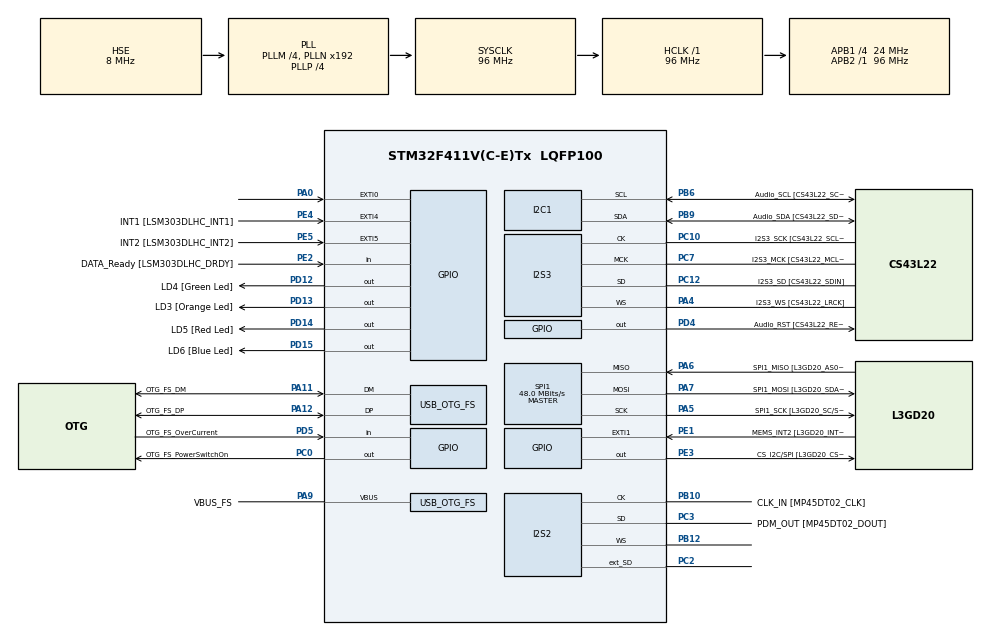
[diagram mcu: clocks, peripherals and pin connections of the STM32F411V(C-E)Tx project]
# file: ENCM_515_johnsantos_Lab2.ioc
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I2S2.AudioFreq=I2S_AUDIOFREQ_96K
I2S2.ErrorAudioFreq=0.15 %
I2S2.FullDuplexMode=I2S_FULLDUPLEXMODE_ENABLE
I2S2.Instance=SPI$Index
I2S2.RealAudioFreq=96.153 KHz
I2S2.VirtualMode=I2S_MODE_MASTER
I2S3.AudioFreq=I2S_AUDIOFREQ_96K
I2S3.ErrorAudioFreq=-6.99 %
I2S3.FullDuplexMode=I2S_FULLDUPLEXMODE_DISABLE
I2S3.Instance=SPI$Index
I2S3.RealAudioFreq=89.285 KHz
I2S3.VirtualMode=I2S_MODE_MASTER
Mcu.Family=STM32F4
Mcu.Name=STM32F411V(C-E)Tx
Mcu.Package=LQFP100
NVIC.OTG_FS_IRQn=true\:0\:0\:false\:false\:true\:true\:true\:true
NVIC.PriorityGroup=NVIC_PRIORITYGROUP_0
PA0-WKUP.GPIO_ModeDefaultEXTI=GPIO_MODE_EVT_RISING
PA0-WKUP.Signal=GPXTI0
PA10.GPIO_Label=OTG_FS_ID
PA10.Signal=USB_OTG_FS_ID
PA11.GPIO_Label=OTG_FS_DM
PA11.Mode=Host_Only
PA11.Signal=USB_OTG_FS_DM
PA12.GPIO_Label=OTG_FS_DP
PA12.Mode=Host_Only
PA12.Signal=USB_OTG_FS_DP
PA13.GPIO_Label=SWDIO
PA13.Mode=Serial_Wire
PA13.Signal=SYS_JTMS-SWDIO
PA14.GPIO_Label=SWCLK
PA14.Mode=Serial_Wire
PA14.Signal=SYS_JTCK-SWCLK
PA4.GPIO_Label=I2S3_WS [CS43L22_LRCK]
PA4.GPIO_Mode=GPIO_MODE_AF_PP
PA4.GPIO_PuPd=GPIO_NOPULL
PA4.GPIO_Speed=GPIO_SPEED_FREQ_LOW
PA4.Mode=Half_Duplex_Master
PA4.Signal=I2S3_WS
PA5.GPIO_Label=SPI1_SCK [L3GD20_SC/SPC]
PA5.Mode=Full_Duplex_Master
PA5.Signal=SPI1_SCK
PA6.GPIO_Label=SPI1_MISO [L3GD20_AS0/SDO]
PA6.Mode=Full_Duplex_Master
PA6.Signal=SPI1_MISO
PA7.GPIO_Label=SPI1_MOSI [L3GD20_SDA/SDI/SDO]
PA7.Mode=Full_Duplex_Master
PA7.Signal=SPI1_MOSI
PA9.GPIO_Label=VBUS_FS
PA9.Mode=Activate_VBUS
PA9.Signal=USB_OTG_FS_VBUS
PB10.GPIO_Label=CLK_IN [MP45DT02_CLK]
PB10.Mode=Full_Duplex_Master
PB10.Signal=I2S2_CK
PB12.Mode=Full_Duplex_Master
PB12.Signal=I2S2_WS
PB3.GPIO_Label=SWO
PB3.Signal=SYS_JTDO-SWO
PB6.GPIO_Label=Audio_SCL [CS43L22_SCL]
PB6.GPIO_Mode=GPIO_MODE_AF_OD
PB6.GPIO_Pu=GPIO_PULLUP
PB6.GPIO_PuPd=GPIO_NOPULL
PB6.GPIO_Speed=GPIO_SPEED_FREQ_LOW
PB6.Mode=I2C
PB6.Signal=I2C1_SCL
PB9.GPIO_Label=Audio_SDA [CS43L22_SDA]
PB9.GPIO_Mode=GPIO_MODE_AF_OD
PB9.GPIO_Pu=GPIO_PULLUP
PB9.GPIO_PuPd=GPIO_NOPULL
PB9.GPIO_Speed=GPIO_SPEED_FREQ_LOW
PB9.Mode=I2C
PB9.Signal=I2C1_SDA
PC0.GPIO_Label=OTG_FS_PowerSwitchOn
PC0.PinState=GPIO_PIN_SET
PC0.Signal=GPIO_Output
PC10.GPIO_Label=I2S3_SCK [CS43L22_SCLK]
PC10.GPIO_Mode=GPIO_MODE_AF_PP
PC10.GPIO_PuPd=GPIO_NOPULL
PC10.GPIO_Speed=GPIO_SPEED_FREQ_LOW
PC10.Mode=Half_Duplex_Master
PC10.Signal=I2S3_CK
PC12.GPIO_Label=I2S3_SD [CS43L22_SDIN]
PC12.GPIO_Mode=GPIO_MODE_AF_PP
PC12.GPIO_PuPd=GPIO_NOPULL
PC12.GPIO_Speed=GPIO_SPEED_FREQ_LOW
PC12.Mode=Half_Duplex_Master
PC12.Signal=I2S3_SD
PC14-OSC32_IN.GPIO_Label=PC14-OSC32_IN
PC14-OSC32_IN.Mode=LSE-External-Oscillator
PC14-OSC32_IN.Signal=RCC_OSC32_IN
PC15-OSC32_OUT.GPIO_Label=PC15-OSC32_OUT
PC15-OSC32_OUT.Mode=LSE-External-Oscillator
PC15-OSC32_OUT.Signal=RCC_OSC32_OUT
PC2.Mode=Full_Duplex_Master
PC2.Signal=I2S2_ext_SD
PC3.GPIO_Label=PDM_OUT [MP45DT02_DOUT]
PC3.Mode=Full_Duplex_Master
PC3.Signal=I2S2_SD
PC7.GPIO_Label=I2S3_MCK [CS43L22_MCLK]
PC7.GPIO_Mode=GPIO_MODE_AF_PP
PC7.GPIO_PuPd=GPIO_NOPULL
PC7.GPIO_Speed=GPIO_SPEED_FREQ_LOW
PC7.Mode=Master_Clock_Activated
PC7.Signal=I2S3_MCK
PD12.GPIO_Label=LD4 [Green Led]
PD12.GPIO_PuPd=GPIO_NOPULL
PD12.GPIO_Speed=GPIO_SPEED_FREQ_LOW
PD12.Signal=GPIO_Output
PD13.GPIO_Label=LD3 [Orange Led]
PD13.GPIO_PuPd=GPIO_NOPULL
PD13.GPIO_Speed=GPIO_SPEED_FREQ_LOW
PD13.Signal=GPIO_Output
PD14.GPIO_Label=LD5 [Red Led]
PD14.GPIO_PuPd=GPIO_NOPULL
PD14.GPIO_Speed=GPIO_SPEED_FREQ_LOW
PD14.Signal=GPIO_Output
PD15.GPIO_Label=LD6 [Blue Led]
PD15.GPIO_PuPd=GPIO_NOPULL
PD15.GPIO_Speed=GPIO_SPEED_FREQ_LOW
PD15.Signal=GPIO_Output
PD4.GPIO_Label=Audio_RST [CS43L22_RESET]
PD4.Signal=GPIO_Output
PD5.GPIO_Label=OTG_FS_OverCurrent
PD5.Signal=GPIO_Input
PE1.GPIO_Label=MEMS_INT2 [L3GD20_INT2]
PE1.GPIO_ModeDefaultEXTI=GPIO_MODE_EVT_RISING
PE1.Signal=GPXTI1
PE2.GPIO_Label=DATA_Ready [LSM303DLHC_DRDY]
PE2.Signal=GPIO_Input
PE3.GPIO_Label=CS_I2C/SPI [L3GD20_CS_I2C/SPI]
PE3.Signal=GPIO_Output
PE4.GPIO_Label=INT1 [LSM303DLHC_INT1]
PE4.GPIO_ModeDefaultEXTI=GPIO_MODE_EVT_RISING
PE4.Signal=GPXTI4
PE5.GPIO_Label=INT2 [LSM303DLHC_INT2]
PE5.GPIO_ModeDefaultEXTI=GPIO_MODE_EVT_RISING
PE5.Signal=GPXTI5
PH0\ -\ OSC_IN.GPIO_Label=PH0-OSC_IN
PH0\ -\ OSC_IN.Mode=HSE-External-Oscillator
PH0\ -\ OSC_IN.Signal=RCC_OSC_IN
PH1\ -\ OSC_OUT.GPIO_Label=PH1-OSC_OUT
PH1\ -\ OSC_OUT.Mode=HSE-External-Oscillator
PH1\ -\ OSC_OUT.Signal=RCC_OSC_OUT
ProjectManager.HeapSize=0x200
ProjectManager.StackSize=0x400
ProjectManager.TargetToolchain=STM32CubeIDE
RCC.48MHZClocksFreq_Value=48000000
RCC.AHBFreq_Value=96000000
RCC.APB1CLKDivider=RCC_HCLK_DIV4
RCC.APB1Freq_Value=24000000
RCC.APB1TimFreq_Value=48000000
RCC.APB2Freq_Value=96000000
RCC.APB2TimFreq_Value=96000000
RCC.CortexFreq_Value=96000000
RCC.HCLKFreq_Value=96000000
RCC.HSE_VALUE=8000000
RCC.HSI_VALUE=16000000
RCC.PLLI2SM=5
RCC.PLLI2SN=200
RCC.PLLM=4
RCC.PLLP=RCC_PLLP_DIV4
RCC.PLLQ=8
RCC.SYSCLKFreq_VALUE=96000000
RCC.SYSCLKSource=RCC_SYSCLKSOURCE_PLLCLK
RCC.VCOOutputFreq_Value=384000000
SPI1.BaudRatePrescaler=SPI_BAUDRATEPRESCALER_2
SPI1.CalculateBaudRate=48.0 MBits/s
SPI1.Direction=SPI_DIRECTION_2LINES
SPI1.Mode=SPI_MODE_MASTER
SPI1.VirtualType=VM_MASTER
USB_HOST.BSP.number=1
USB_HOST.USBH_HandleTypeDef=hUsbHostFS
USB_HOST.VirtualModeFS=Cdc
USB_HOST0.BSP.STBoard=false
USB_HOST0.BSP.api=Unknown
USB_HOST0.BSP.instance=PC0
USB_HOST0.BSP.ip=GPIO
USB_HOST0.BSP.mode=Output
USB_HOST0.BSP.name=Drive_VBUS_FS
USB_HOST0.BSP.solution=PC0
USB_OTG_FS.VirtualMode=Host_Only
USB_OTG_FS.phy_itface=HCD_PHY_EMBEDDED
VP_USB_HOST_VS_USB_HOST_CDC_FS.Mode=CDC_FS
board=STM32F411E-DISCO

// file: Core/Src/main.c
/* USER CODE BEGIN Header */
/**
  ******************************************************************************
  * @file           : main.c
  * @brief          : Main program body
  ******************************************************************************
  * @attention
  *
  * Copyright (c) 2024 STMicroelectronics.
  * All rights reserved.
  *
  * This software is licensed under terms that can be found in the LICENSE file
  * in the root directory of this software component.
  * If no LICENSE file comes with this software, it is provided AS-IS.
  *
  ******************************************************************************
  */
/* USER CODE END Header */
#include "main.h"
#include "usb_host.h"

/* USER CODE BEGIN Includes */
#include "arm_math.h"
/* USER CODE END Includes */

/* USER CODE BEGIN PD */

#define ITM_Port32(n) (*((volatile unsigned long *)(0xE0000000+4*n)))
/* This is the start address of where we are going to put our input data */
#define DATA_START_ADDRESS	0x08020000
/* For this lab, we should know in advance how many samples we have to process... */
#define NUMBER_OF_SAMPLES	22050

// Uncomment only one to determine which process to run.
#define FLOAT_IMP 0
//#define FIXED_IMP 1

/* USER CODE END PD */

I2C_HandleTypeDef hi2c1;

I2S_HandleTypeDef hi2s2;
I2S_HandleTypeDef hi2s3;

SPI_HandleTypeDef hspi1;

/* USER CODE BEGIN PV */

#ifdef FLOAT_IMP
	/* This is a pointer to our input data */
	float32_t* data = DATA_START_ADDRESS;
	uint8_t chosen_process = 0;

	/* Here are our filter taps (as float32_t) */
	static float32_t filter_taps[31] = {
		  -0.004289844297235351,
		  -0.00014156432081732112,
		  -0.0036201686224482756,
		  0.004827257985150652,
		  0.0036155531164272516,
		  0.020675517860072025,
		  0.02402285521584296,
		  0.051424412549522944,
		  0.05939430591101754,
		  0.09527637902148803,
		  0.10443208231700706,
		  0.14294541181873402,
		  0.14707868991005837,
		  0.18028398272481666,
		  0.17316624396732433,
		  0.19445415344945507,
		  0.17316624396732433,
		  0.18028398272481666,
		  0.14707868991005837,
		  0.14294541181873402,
		  0.10443208231700706,
		  0.09527637902148803,
		  0.05939430591101754,
		  0.051424412549522944,
		  0.02402285521584296,
		  0.020675517860072025,
		  0.0036155531164272516,
		  0.004827257985150652,
		  -0.0036201686224482756,
		  -0.00014156432081732112,
		  -0.004289844297235351
	};

	/* let's have our history and output arrays defined somewhere */
	float32_t history[31];
	float32_t newdata[NUMBER_OF_SAMPLES];
#elif FIXED_IMP
	int16_t* data = DATA_START_ADDRESS;
	uint8_t chosen_process = 1;

	/* Here are our filter taps (as int16_t or q15_t) */
	static int16_t filter_taps[31] = {
			-141, -5, -119, 158, 118, 677, 787, 1685, 1946, 3122,
			3422, 4684, 4819, 5908, 5674, 6372, 5674, 5908, 4819,
			4684, 3422, 3122, 1946, 1685, 787, 677, 118, 158, -119,
			-5, -141};
	int16_t history[31];
	int16_t newdata[NUMBER_OF_SAMPLES];
#endif

/* USER CODE END PV */

void SystemClock_Config(void);
void PeriphCommonClock_Config(void);
static void MX_GPIO_Init(void);
static void MX_I2C1_Init(void);
static void MX_I2S2_Init(void);
static void MX_I2S3_Init(void);
static void MX_SPI1_Init(void);
void MX_USB_HOST_Process(void);

/* USER CODE BEGIN PFP */

/* this the function prototype for initializing the filter (specifically the history) */
void FloatFilterInit(void);
void FixedFilterInit(void);

/* This is the function prototype that does the filtering given a new sample.
 * The filter should shuffle the history values (which it can because history is global
 * This function should return a new output
 */
float32_t FloatFilterGet(float32_t new_sample);
int16_t FixedFilterGet(int16_t new_sample);
/* USER CODE END PFP */

int main(void)
{

  /* MCU Configuration--------------------------------------------------------*/

  /* Reset of all peripherals, Initializes the Flash interface and the Systick. */
  HAL_Init();

  /* Configure the system clock */
  SystemClock_Config();

/* Configure the peripherals common clocks */
  PeriphCommonClock_Config();

  /* Initialize all configured peripherals */
  MX_GPIO_Init();
  MX_I2C1_Init();
  MX_I2S2_Init();
  MX_I2S3_Init();
  MX_SPI1_Init();
  MX_USB_HOST_Init();
  /* USER CODE BEGIN 2 */

  if(chosen_process == 0) {
	  FloatFilterInit();
	  ITM_Port32(31) = 1;
	  for (int i=0; i<NUMBER_OF_SAMPLES; i++) {
		  newdata[i] = FloatFilterGet(*data);
		  data += 0x00000001;
	  }
	  ITM_Port32(31) = 2;
  } else {
	  FixedFilterInit();
	  ITM_Port32(31) = 1;
	  for (int i=0; i<NUMBER_OF_SAMPLES; i++) {
		  newdata[i] = FixedFilterGet(*data);
		  data += 0x00000001;
	  }
	  ITM_Port32(31) = 2;
  }

  /* USER CODE END 2 */

  /* Infinite loop */
  while (1)
  {
    MX_USB_HOST_Process();

  }
}

void SystemClock_Config(void)
{
  RCC_OscInitTypeDef RCC_OscInitStruct = {0};
  RCC_ClkInitTypeDef RCC_ClkInitStruct = {0};

  /** Configure the main internal regulator output voltage
  */
  __HAL_RCC_PWR_CLK_ENABLE();
  __HAL_PWR_VOLTAGESCALING_CONFIG(PWR_REGULATOR_VOLTAGE_SCALE1);

  /** Initializes the RCC Oscillators according to the specified parameters
  * in the RCC_OscInitTypeDef structure.
  */
  RCC_OscInitStruct.OscillatorType = RCC_OSCILLATORTYPE_HSE;
  RCC_OscInitStruct.HSEState = RCC_HSE_ON;
  RCC_OscInitStruct.PLL.PLLState = RCC_PLL_ON;
  RCC_OscInitStruct.PLL.PLLSource = RCC_PLLSOURCE_HSE;
  RCC_OscInitStruct.PLL.PLLM = 4;
  RCC_OscInitStruct.PLL.PLLN = 192;
  RCC_OscInitStruct.PLL.PLLP = RCC_PLLP_DIV4;
  RCC_OscInitStruct.PLL.PLLQ = 8;
  if (HAL_RCC_OscConfig(&RCC_OscInitStruct) != HAL_OK)
  {
    Error_Handler();
  }

  /** Initializes the CPU, AHB and APB buses clocks
  */
  RCC_ClkInitStruct.ClockType = RCC_CLOCKTYPE_HCLK|RCC_CLOCKTYPE_SYSCLK
                              |RCC_CLOCKTYPE_PCLK1|RCC_CLOCKTYPE_PCLK2;
  RCC_ClkInitStruct.SYSCLKSource = RCC_SYSCLKSOURCE_PLLCLK;
  RCC_ClkInitStruct.AHBCLKDivider = RCC_SYSCLK_DIV1;
  RCC_ClkInitStruct.APB1CLKDivider = RCC_HCLK_DIV4;
  RCC_ClkInitStruct.APB2CLKDivider = RCC_HCLK_DIV1;

  if (HAL_RCC_ClockConfig(&RCC_ClkInitStruct, FLASH_LATENCY_3) != HAL_OK)
  {
    Error_Handler();
  }
}

void PeriphCommonClock_Config(void)
{
  RCC_PeriphCLKInitTypeDef PeriphClkInitStruct = {0};

  /** Initializes the peripherals clock
  */
  PeriphClkInitStruct.PeriphClockSelection = RCC_PERIPHCLK_I2S;
  PeriphClkInitStruct.PLLI2S.PLLI2SN = 200;
  PeriphClkInitStruct.PLLI2S.PLLI2SM = 5;
  PeriphClkInitStruct.PLLI2S.PLLI2SR = 2;
  if (HAL_RCCEx_PeriphCLKConfig(&PeriphClkInitStruct) != HAL_OK)
  {
    Error_Handler();
  }
}

static void MX_I2C1_Init(void)
{

  hi2c1.Instance = I2C1;
  hi2c1.Init.ClockSpeed = 100000;
  hi2c1.Init.DutyCycle = I2C_DUTYCYCLE_2;
  hi2c1.Init.OwnAddress1 = 0;
  hi2c1.Init.AddressingMode = I2C_ADDRESSINGMODE_7BIT;
  hi2c1.Init.DualAddressMode = I2C_DUALADDRESS_DISABLE;
  hi2c1.Init.OwnAddress2 = 0;
  hi2c1.Init.GeneralCallMode = I2C_GENERALCALL_DISABLE;
  hi2c1.Init.NoStretchMode = I2C_NOSTRETCH_DISABLE;
  if (HAL_I2C_Init(&hi2c1) != HAL_OK)
  {
    Error_Handler();
  }

}

static void MX_I2S2_Init(void)
{

  hi2s2.Instance = SPI2;
  hi2s2.Init.Mode = I2S_MODE_MASTER_TX;
  hi2s2.Init.Standard = I2S_STANDARD_PHILIPS;
  hi2s2.Init.DataFormat = I2S_DATAFORMAT_16B;
  hi2s2.Init.MCLKOutput = I2S_MCLKOUTPUT_DISABLE;
  hi2s2.Init.AudioFreq = I2S_AUDIOFREQ_96K;
  hi2s2.Init.CPOL = I2S_CPOL_LOW;
  hi2s2.Init.ClockSource = I2S_CLOCK_PLL;
  hi2s2.Init.FullDuplexMode = I2S_FULLDUPLEXMODE_ENABLE;
  if (HAL_I2S_Init(&hi2s2) != HAL_OK)
  {
    Error_Handler();
  }

}

static void MX_I2S3_Init(void)
{

  hi2s3.Instance = SPI3;
  hi2s3.Init.Mode = I2S_MODE_MASTER_TX;
  hi2s3.Init.Standard = I2S_STANDARD_PHILIPS;
  hi2s3.Init.DataFormat = I2S_DATAFORMAT_16B;
  hi2s3.Init.MCLKOutput = I2S_MCLKOUTPUT_ENABLE;
  hi2s3.Init.AudioFreq = I2S_AUDIOFREQ_96K;
  hi2s3.Init.CPOL = I2S_CPOL_LOW;
  hi2s3.Init.ClockSource = I2S_CLOCK_PLL;
  hi2s3.Init.FullDuplexMode = I2S_FULLDUPLEXMODE_DISABLE;
  if (HAL_I2S_Init(&hi2s3) != HAL_OK)
  {
    Error_Handler();
  }

}

static void MX_SPI1_Init(void)
{

  /* SPI1 parameter configuration*/
  hspi1.Instance = SPI1;
  hspi1.Init.Mode = SPI_MODE_MASTER;
  hspi1.Init.Direction = SPI_DIRECTION_2LINES;
  hspi1.Init.DataSize = SPI_DATASIZE_8BIT;
  hspi1.Init.CLKPolarity = SPI_POLARITY_LOW;
  hspi1.Init.CLKPhase = SPI_PHASE_1EDGE;
  hspi1.Init.NSS = SPI_NSS_SOFT;
  hspi1.Init.BaudRatePrescaler = SPI_BAUDRATEPRESCALER_2;
  hspi1.Init.FirstBit = SPI_FIRSTBIT_MSB;
  hspi1.Init.TIMode = SPI_TIMODE_DISABLE;
  hspi1.Init.CRCCalculation = SPI_CRCCALCULATION_DISABLE;
  hspi1.Init.CRCPolynomial = 10;
  if (HAL_SPI_Init(&hspi1) != HAL_OK)
  {
    Error_Handler();
  }

}

static void MX_GPIO_Init(void)
{
  GPIO_InitTypeDef GPIO_InitStruct = {0};

  /* GPIO Ports Clock Enable */
  __HAL_RCC_GPIOE_CLK_ENABLE();
  __HAL_RCC_GPIOC_CLK_ENABLE();
  __HAL_RCC_GPIOH_CLK_ENABLE();
  __HAL_RCC_GPIOA_CLK_ENABLE();
  __HAL_RCC_GPIOB_CLK_ENABLE();
  __HAL_RCC_GPIOD_CLK_ENABLE();

  /*Configure GPIO pin Output Level */
  HAL_GPIO_WritePin(CS_I2C_SPI_GPIO_Port, CS_I2C_SPI_Pin, GPIO_PIN_RESET);

  /*Configure GPIO pin Output Level */
  HAL_GPIO_WritePin(OTG_FS_PowerSwitchOn_GPIO_Port, OTG_FS_PowerSwitchOn_Pin, GPIO_PIN_SET);

  /*Configure GPIO pin Output Level */
  HAL_GPIO_WritePin(GPIOD, LD4_Pin|LD3_Pin|LD5_Pin|LD6_Pin
                          |Audio_RST_Pin, GPIO_PIN_RESET);

  /*Configure GPIO pin : DATA_Ready_Pin */
  GPIO_InitStruct.Pin = DATA_Ready_Pin;
  GPIO_InitStruct.Mode = GPIO_MODE_INPUT;
  GPIO_InitStruct.Pull = GPIO_NOPULL;
  HAL_GPIO_Init(DATA_Ready_GPIO_Port, &GPIO_InitStruct);

  /*Configure GPIO pin : CS_I2C_SPI_Pin */
  GPIO_InitStruct.Pin = CS_I2C_SPI_Pin;
  GPIO_InitStruct.Mode = GPIO_MODE_OUTPUT_PP;
  GPIO_InitStruct.Pull = GPIO_NOPULL;
  GPIO_InitStruct.Speed = GPIO_SPEED_FREQ_LOW;
  HAL_GPIO_Init(CS_I2C_SPI_GPIO_Port, &GPIO_InitStruct);

  /*Configure GPIO pins : INT1_Pin INT2_Pin MEMS_INT2_Pin */
  GPIO_InitStruct.Pin = INT1_Pin|INT2_Pin|MEMS_INT2_Pin;
  GPIO_InitStruct.Mode = GPIO_MODE_EVT_RISING;
  GPIO_InitStruct.Pull = GPIO_NOPULL;
  HAL_GPIO_Init(GPIOE, &GPIO_InitStruct);

  /*Configure GPIO pin : OTG_FS_PowerSwitchOn_Pin */
  GPIO_InitStruct.Pin = OTG_FS_PowerSwitchOn_Pin;
  GPIO_InitStruct.Mode = GPIO_MODE_OUTPUT_PP;
  GPIO_InitStruct.Pull = GPIO_NOPULL;
  GPIO_InitStruct.Speed = GPIO_SPEED_FREQ_LOW;
  HAL_GPIO_Init(OTG_FS_PowerSwitchOn_GPIO_Port, &GPIO_InitStruct);

  /*Configure GPIO pin : PA0 */
  GPIO_InitStruct.Pin = GPIO_PIN_0;
  GPIO_InitStruct.Mode = GPIO_MODE_EVT_RISING;
  GPIO_InitStruct.Pull = GPIO_NOPULL;
  HAL_GPIO_Init(GPIOA, &GPIO_InitStruct);

  /*Configure GPIO pins : LD4_Pin LD3_Pin LD5_Pin LD6_Pin
                           Audio_RST_Pin */
  GPIO_InitStruct.Pin = LD4_Pin|LD3_Pin|LD5_Pin|LD6_Pin
                          |Audio_RST_Pin;
  GPIO_InitStruct.Mode = GPIO_MODE_OUTPUT_PP;
  GPIO_InitStruct.Pull = GPIO_NOPULL;
  GPIO_InitStruct.Speed = GPIO_SPEED_FREQ_LOW;
  HAL_GPIO_Init(GPIOD, &GPIO_InitStruct);

  /*Configure GPIO pin : OTG_FS_OverCurrent_Pin */
  GPIO_InitStruct.Pin = OTG_FS_OverCurrent_Pin;
  GPIO_InitStruct.Mode = GPIO_MODE_INPUT;
  GPIO_InitStruct.Pull = GPIO_NOPULL;
  HAL_GPIO_Init(OTG_FS_OverCurrent_GPIO_Port, &GPIO_InitStruct);

}

/* USER CODE BEGIN 4 */

int _write(int file, char* ptr, int len) {
	int DataIdx;
	for (DataIdx = 0; DataIdx < len; DataIdx++) {
		ITM_SendChar(*ptr++);
	}
	return len;
}

void FloatFilterInit(void) {
	for (int i=0; i<31; i++) {
		history[i] = 0.0;
	}
}

void FixedFilterInit(void) {
	for (int i=0; i<31; i++) {
		history[i] = 0x0000;
	}
}

/* here is the function that does the filtering */
float32_t FloatFilterGet(float32_t newsample) {
	// set the new sample as the head
	history[0] = newsample;
	float32_t accumulator = 0;

	// set up and do our convolution
	for (int i=0; i<31; i++) {
		accumulator += filter_taps[i] * history[i];
	}

	// shuffle the history along for the next one?
	for (int i=30; i>0; i--) {
		history[i] = history[i-1];
	}
	return accumulator;
}

/* here is the function that does the filtering */
int16_t FixedFilterGet(int16_t newsample) {
	// set the new sample as the head
	history[0] = newsample;
	int32_t accumulator = 0x00000000;

	// set up and do our convolution
	for (int i=0; i<31; i++) {
		accumulator += ((int32_t)filter_taps[i] * (int32_t)history[i]);
	}

	// shuffle the history along for the next one?
	for (int i=30; i>0; i--) {
		history[i] = history[i-1];
	}

	// saturate
	if(accumulator > 0x3FFFFFFF) {
		accumulator = 0x3FFFFFFF;
	} else if (accumulator < -0x40000000) {
		accumulator = -0x40000000;
	}

	return (int16_t)(accumulator >> 15);
}

/* USER CODE END 4 */

void Error_Handler(void)
{
  __disable_irq();
  while (1)
  {
  }
}
